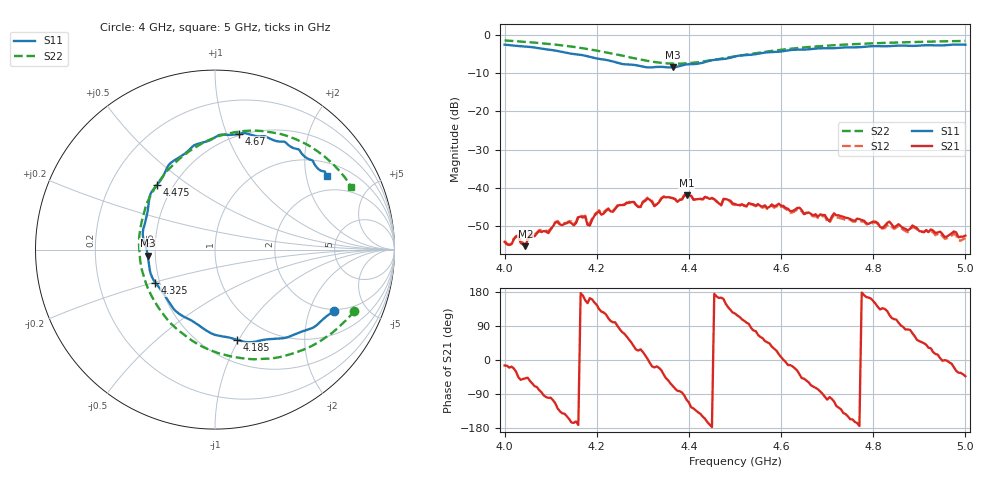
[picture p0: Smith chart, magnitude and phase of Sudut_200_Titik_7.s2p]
# Hz S RI R 50
! CMT, C1220, 16058040, 17.2.0/1
! Date: 15/08/2018 12:03:38
! Data: Format (Calibration Info)
! Freq  S11: Re/Im (F2)  S21: Re/Im (F2)  S12: Re/Im (F2)  S22: Re/Im (F2)
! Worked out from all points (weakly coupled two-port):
!   201 points, 4 GHz to 5 GHz, reference 50 ohm
!   highest |S21| = -41.95 dB at 4.395 GHz (marker M1); lowest = -55.3 dB at 4.045 GHz (marker M2)
!   lowest |S11| = -8.5 dB at 4.365 GHz (marker M3), VSWR 2.20, Z = 22.7 - j1.75 ohm
!   |S11| at or under -10 dB: nowhere
!   |S22| runs from -7.5 to -1.4 dB; largest |S21 - S12| = 0.00032
!   S11 on the Smith chart (normalised r, x): 4 GHz: 1.93, -2.98; 4.185 GHz: 0.72, -0.98; 4.325 GHz: 0.47, -0.20; 4.475 GHz: 0.41, +0.39; 4.67 GHz: 0.48, +1.11; 5 GHz: 1.42, +2.63
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4e9  0.6648 -0.3409  0.0019 -0.000487  0.00198 -0.00045  0.7765 -0.3405
4.03e9  0.6041 -0.3862  0.00162 -0.00165  0.00174 -0.00163  0.7183 -0.4044
4.045e9  0.5705 -0.4177  0.00115 -0.00129  0.00123 -0.00131  0.6854 -0.4362
4.055e9  0.5478 -0.4339  0.00133 -0.00193  0.00149 -0.00202  0.6624 -0.4557
4.17e9  0.172 -0.5152  -0.00402 0.000714  -0.00419 0.000654  0.2819 -0.608
4.185e9  0.1236 -0.5027  -0.00308 0.000934  -0.00329 0.000918  0.2184 -0.6112
4.205e9  0.0471 -0.4844  -0.00345 0.0035  -0.00358 0.00361  0.1305 -0.6023
4.25e9  -0.1068 -0.4106  0.000916 0.00589  0.000906 0.00591  -0.0673 -0.542
4.295e9  -0.2519 -0.2997  0.00496 0.00265  0.00501 0.00267  -0.2497 -0.4085
4.31e9  -0.2895 -0.2412  0.00722 0.000421  0.00744 0.000427  -0.2965 -0.3496
4.325e9  -0.3321 -0.1848  0.00542 -0.00193  0.00554 -0.00199  -0.3382 -0.2858
4.335e9  -0.3517 -0.151  0.00603 -0.00229  0.00609 -0.00244  -0.3624 -0.2401
4.365e9  -0.3743 -0.0331  0.00265 -0.00681  0.00257 -0.00691  -0.4119 -0.0943
4.395e9  -0.4027 0.0855  -0.00209 -0.00772  -0.00225 -0.00771  -0.423 0.0552
4.47e9  -0.3345 0.3461  -0.00572 0.00159  -0.00561 0.00184  -0.3152 0.3744
4.475e9  -0.3215 0.3617  -0.0068 0.00232  -0.00662 0.00248  -0.3035 0.3908
4.5e9  -0.2702 0.448  -0.00332 0.00516  -0.00315 0.00506  -0.2398 0.4667
4.595e9  -0.0475 0.6023  0.00598 0.00166  0.00586 0.00157  0.0297 0.6352
4.67e9  0.1339 0.6453  0.00147 -0.00411  0.00136 -0.00401  0.2378 0.6623
4.82e9  0.4079 0.5833  -0.00218 0.00205  -0.00212 0.00206  0.5487 0.5632
4.835e9  0.4359 0.566  -0.00177 0.00316  -0.00166 0.00287  0.5728 0.5466
5e9  0.6217 0.412  0.00174 -0.00161  0.00166 -0.00144  0.7584 0.3507
